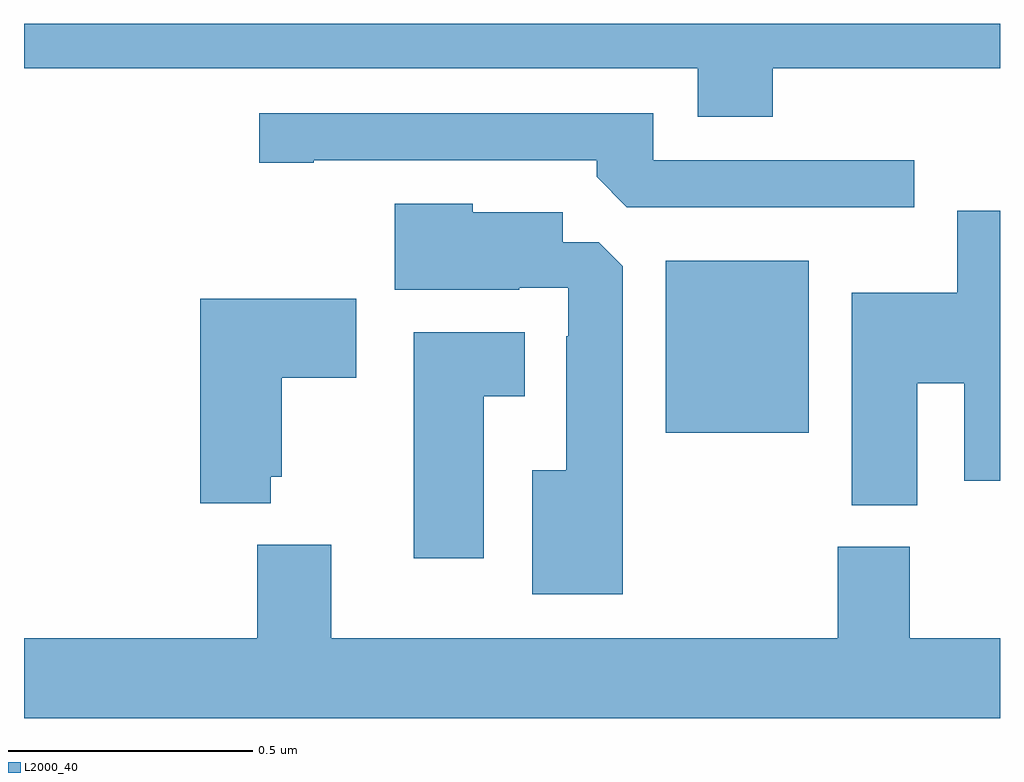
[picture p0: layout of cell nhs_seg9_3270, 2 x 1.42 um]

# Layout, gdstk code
import gdstk
lib = gdstk.Library(unit=1e-6, precision=1e-09)
def R(c, l, rs):  # rectangles x0, y0, x1, y1
    for r in rs: c.add(gdstk.rectangle(r[:2], r[2:], *l))
def P(c, l, *ps):  # polygons
    for p in ps: c.add(gdstk.Polygon(p, *l))
L2000_40 = (2000, 40)

nhs_seg9_3270 = lib.new_cell('nhs_seg9_3270')
R(nhs_seg9_3270, L2000_40, [(152.315,1207.661,152.608,1208.014)])
P(nhs_seg9_3270, L2000_40, [(152.534,1208.408),(153,1208.408),(153,1208.5),(151,1208.5),(151,1208.408),(152.381,1208.408),(152.381,1208.309),(152.534,1208.309)],
  [(152.824,1208.22),(152.289,1208.22),(152.289,1208.316),(151.482,1208.316),(151.482,1208.215),(151.594,1208.215),(151.594,1208.22),(152.174,1208.22),(152.174,1208.186),(152.235,1208.124),(152.824,1208.124)],
  [(152.227,1208.003),(152.178,1208.052),(152.104,1208.052),(152.104,1208.113),(151.92,1208.113),(151.92,1208.131),(151.76,1208.131),(151.76,1207.955),(152.015,1207.955),(152.015,1207.959),(152.115,1207.959),(152.115,1207.859),(152.111,1207.859),(152.111,1207.585),(152.042,1207.585),(152.042,1207.331),(152.227,1207.331)],
  [(152.83,1207.763),(152.927,1207.763),(152.927,1207.563),(153,1207.563),(153,1208.116),(152.912,1208.116),(152.912,1207.948),(152.696,1207.948),(152.696,1207.513),(152.83,1207.513)],
  [(151.506,1207.571),(151.528,1207.571),(151.528,1207.774),(151.681,1207.774),(151.681,1207.936),(151.361,1207.936),(151.361,1207.517),(151.506,1207.517)],
  [(151.942,1207.736),(152.026,1207.736),(152.026,1207.867),(151.799,1207.867),(151.799,1207.404),(151.942,1207.404)],
  [(153,1207.24),(152.815,1207.24),(152.815,1207.428),(152.668,1207.428),(152.668,1207.24),(151.63,1207.24),(151.63,1207.432),(151.478,1207.432),(151.478,1207.24),(151,1207.24),(151,1207.076),(153,1207.076)])

lib.write_gds('nhs_seg9_3270.gds')
